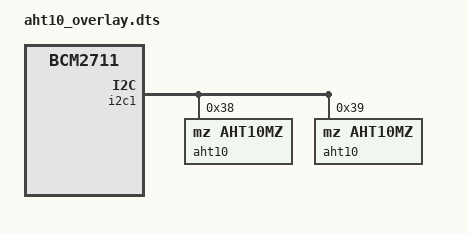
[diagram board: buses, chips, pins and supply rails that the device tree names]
/dts-v1/;
/plugin/;

/ {
	compatible = "brcm,bcm2711";

	fragment@1 {
		target = <&i2c1>;
		__overlay__ {
			status = "okay";

			aht10@38 {
				compatible = "mz,aht10mz";
				reg = <0x38>;
			};
			aht10@39 {
				compatible = "mz,aht10mz";
				reg = <0x39>;
			};
		};
	};
};
